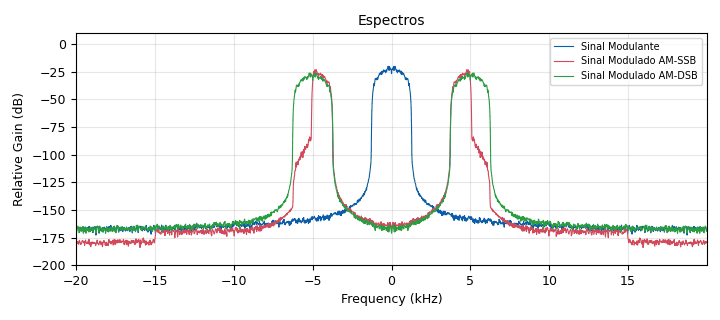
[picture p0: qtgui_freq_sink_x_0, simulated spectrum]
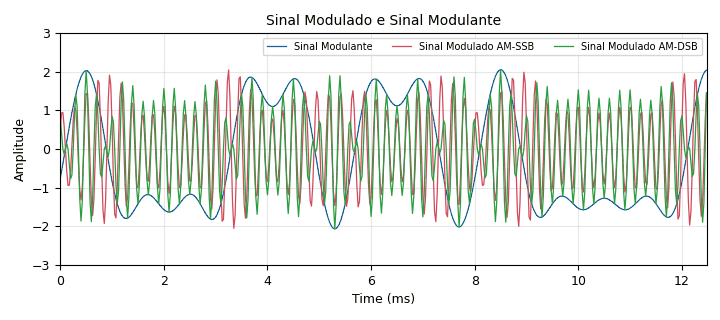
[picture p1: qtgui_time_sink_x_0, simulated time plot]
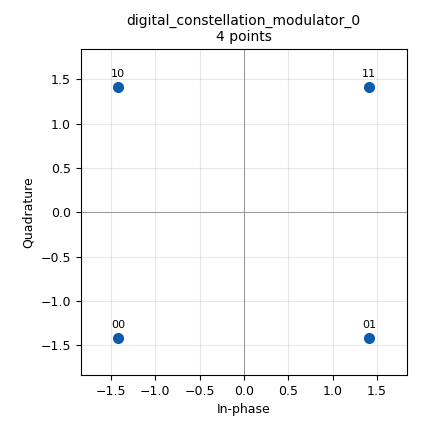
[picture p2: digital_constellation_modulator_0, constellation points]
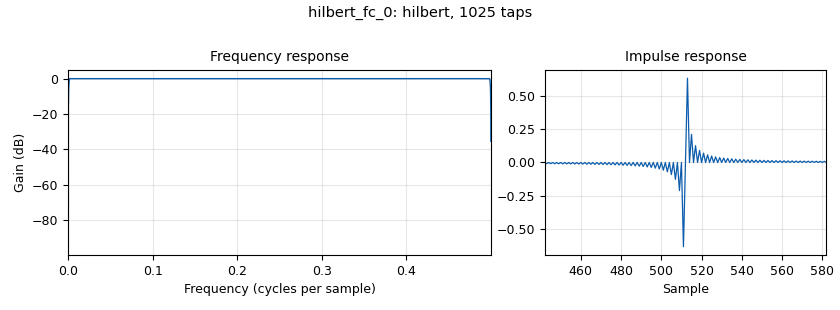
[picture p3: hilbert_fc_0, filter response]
options:
  parameters:
    category: Custom
    generate_options: qt_gui
    id: Labo3_1
    output_language: python
    title: AM-SSB
  states: {}

blocks:
- name: F
  id: variable
  parameters:
    value: '5000'
  states: {}
- name: Hilbert_Fiilter_Taps
  id: variable
  parameters:
    value: '1024'
  states: {}
- name: samp_rate
  id: variable
  parameters:
    value: '40000'
  states: {}
- name: variable_constellation_0
  id: variable_constellation
  parameters:
    precision: '8'
    type: qpsk
  states: {}
- name: Portadora
  id: analog_sig_source_x
  parameters:
    amp: '1'
    freq: F
    offset: '0'
    phase: '0'
    samp_rate: samp_rate
    type: float
    waveform: analog.GR_COS_WAVE
  states: {}
- name: Portadora_0
  id: analog_sig_source_x
  parameters:
    amp: '1'
    freq: F
    offset: '0'
    phase: '0'
    samp_rate: samp_rate
    type: float
    waveform: analog.GR_SIN_WAVE
  states: {}
- name: analog_random_source_x_0
  id: analog_random_source_x
  parameters:
    max: '256'
    min: '0'
    num_samps: '1000'
    repeat: 'True'
    type: byte
  states: {}
- name: blocks_add_xx_0_0
  id: blocks_add_xx
  parameters:
    type: float
  states: {}
- name: blocks_complex_to_imag_0
  id: blocks_complex_to_imag
  parameters: {}
  states: {}
- name: blocks_complex_to_imag_0_0
  id: blocks_complex_to_imag
  parameters: {}
  states: {}
- name: blocks_delay_0
  id: blocks_delay
  parameters:
    delay: int(Hilbert_Fiilter_Taps/2)
    type: float
  states: {}
- name: blocks_multiply_const_vxx_0
  id: blocks_multiply_const_vxx
  parameters:
    const: 1/numpy.sqrt(2)
    type: float
  states: {}
- name: blocks_multiply_xx_0
  id: blocks_multiply_xx
  parameters:
    type: float
  states: {}
- name: blocks_multiply_xx_0_0
  id: blocks_multiply_xx
  parameters:
    type: float
  states: {}
- name: blocks_throttle_0
  id: blocks_throttle
  parameters:
    samples_per_second: samp_rate
    type: float
  states: {}
- name: digital_constellation_modulator_0
  id: digital_constellation_modulator
  parameters:
    constellation: variable_constellation_0
    differential: 'False'
    excess_bw: '1'
    samples_per_symbol: '32'
  states: {}
- name: hilbert_fc_0
  id: hilbert_fc
  parameters:
    num_taps: Hilbert_Fiilter_Taps
  states: {}
- name: qtgui_freq_sink_x_0
  id: qtgui_freq_sink_x
  parameters:
    alias: Espectros
    average: '0.1'
    bw: samp_rate
    color3: '"black"'
    fc: '0'
    fftsize: '2048'
    grid: 'True'
    gui_hint: 0,1,1,1
    label1: 'Sinal Modulante '
    label2: ' Sinal Modulado AM-SSB'
    label3: Sinal Modulado AM-DSB
    name: Espectros
    nconnections: '3'
    showports: 'True'
    type: float
    wintype: window.WIN_BLACKMAN
    ymin: '-200'
  states: {}
- name: qtgui_time_sink_x_0
  id: qtgui_time_sink_x
  parameters:
    color3: black
    grid: 'True'
    gui_hint: 0,0,1,1
    label1: Sinal Modulante
    label2: Sinal Modulado AM-SSB
    label3: Sinal Modulado AM-DSB
    name: Sinal Modulado e Sinal Modulante
    nconnections: '3'
    size: '500'
    srate: samp_rate
    tr_level: '1'
    type: float
    ymax: '3'
    ymin: '-3'
  states: {}

connections:
- [Portadora, '0', blocks_throttle_0, '0']
- [Portadora_0, '0', blocks_multiply_xx_0_0, '0']
- [analog_random_source_x_0, '0', digital_constellation_modulator_0, '0']
- [blocks_add_xx_0_0, '0', blocks_multiply_const_vxx_0, '0']
- [blocks_complex_to_imag_0, '0', blocks_multiply_xx_0_0, '1']
- [blocks_complex_to_imag_0_0, '0', blocks_delay_0, '0']
- [blocks_complex_to_imag_0_0, '0', hilbert_fc_0, '0']
- [blocks_delay_0, '0', blocks_multiply_xx_0, '0']
- [blocks_delay_0, '0', qtgui_freq_sink_x_0, '0']
- [blocks_delay_0, '0', qtgui_time_sink_x_0, '0']
- [blocks_multiply_const_vxx_0, '0', qtgui_freq_sink_x_0, '1']
- [blocks_multiply_const_vxx_0, '0', qtgui_time_sink_x_0, '1']
- [blocks_multiply_xx_0, '0', blocks_add_xx_0_0, '0']
- [blocks_multiply_xx_0, '0', qtgui_freq_sink_x_0, '2']
- [blocks_multiply_xx_0, '0', qtgui_time_sink_x_0, '2']
- [blocks_multiply_xx_0_0, '0', blocks_add_xx_0_0, '1']
- [blocks_throttle_0, '0', blocks_multiply_xx_0, '1']
- [digital_constellation_modulator_0, '0', blocks_complex_to_imag_0_0, '0']
- [hilbert_fc_0, '0', blocks_complex_to_imag_0, '0']

metadata:
  file_format: 1
  grc_version: 3.10.4.0
